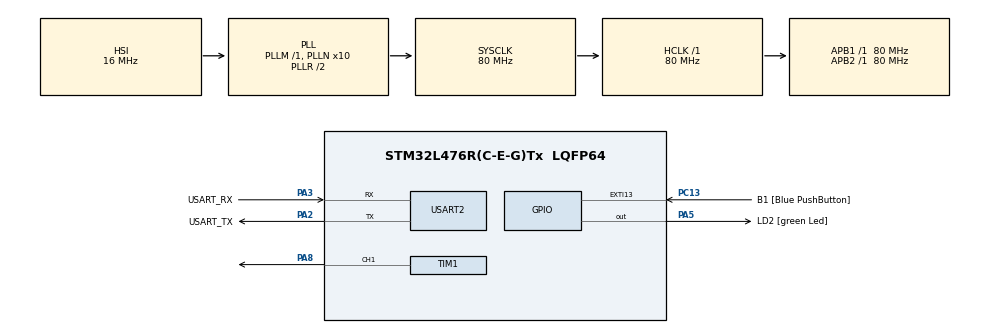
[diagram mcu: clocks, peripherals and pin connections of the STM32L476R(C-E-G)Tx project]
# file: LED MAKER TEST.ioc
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Dma.Request0=TIM1_CH1
Dma.TIM1_CH1.0.Direction=DMA_MEMORY_TO_PERIPH
Dma.TIM1_CH1.0.Instance=DMA1_Channel2
Dma.TIM1_CH1.0.MemDataAlignment=DMA_MDATAALIGN_HALFWORD
Dma.TIM1_CH1.0.MemInc=DMA_MINC_ENABLE
Dma.TIM1_CH1.0.Mode=DMA_NORMAL
Dma.TIM1_CH1.0.PeriphDataAlignment=DMA_PDATAALIGN_HALFWORD
Dma.TIM1_CH1.0.PeriphInc=DMA_PINC_DISABLE
Dma.TIM1_CH1.0.Priority=DMA_PRIORITY_VERY_HIGH
Mcu.Family=STM32L4
Mcu.Name=STM32L476R(C-E-G)Tx
Mcu.Package=LQFP64
NVIC.DMA1_Channel2_IRQn=true\:0\:0\:false\:false\:true\:false\:true\:true
NVIC.PriorityGroup=NVIC_PRIORITYGROUP_4
PA13\ (JTMS-SWDIO).GPIO_Label=TMS
PA13\ (JTMS-SWDIO).Mode=Serial_Wire
PA13\ (JTMS-SWDIO).Signal=SYS_JTMS-SWDIO
PA14\ (JTCK-SWCLK).GPIO_Label=TCK
PA14\ (JTCK-SWCLK).Mode=Serial_Wire
PA14\ (JTCK-SWCLK).Signal=SYS_JTCK-SWCLK
PA2.GPIO_Label=USART_TX
PA2.GPIO_Mode=GPIO_MODE_AF_PP
PA2.GPIO_PuPd=GPIO_NOPULL
PA2.GPIO_Speed=GPIO_SPEED_FREQ_VERY_HIGH
PA2.Mode=Asynchronous
PA2.Signal=USART2_TX
PA3.GPIO_Label=USART_RX
PA3.GPIO_Mode=GPIO_MODE_AF_PP
PA3.GPIO_PuPd=GPIO_NOPULL
PA3.GPIO_Speed=GPIO_SPEED_FREQ_VERY_HIGH
PA3.Mode=Asynchronous
PA3.Signal=USART2_RX
PA5.GPIO_Label=LD2 [green Led]
PA5.GPIO_ModeDefaultOutputPP=GPIO_MODE_OUTPUT_PP
PA5.GPIO_PuPd=GPIO_NOPULL
PA5.GPIO_Speed=GPIO_SPEED_FREQ_LOW
PA5.Signal=GPIO_Output
PA8.Signal=S_TIM1_CH1
PB3\ (JTDO-TRACESWO).GPIO_Label=SWO
PB3\ (JTDO-TRACESWO).Signal=SYS_JTDO-SWO
PC13.GPIO_Label=B1 [Blue PushButton]
PC13.GPIO_ModeDefaultEXTI=GPIO_MODE_IT_FALLING
PC13.GPIO_PuPd=GPIO_PULLDOWN
PC13.Signal=GPXTI13
PC14-OSC32_IN\ (PC14).Mode=LSE-External-Oscillator
PC14-OSC32_IN\ (PC14).Signal=RCC_OSC32_IN
PC15-OSC32_OUT\ (PC15).Mode=LSE-External-Oscillator
PC15-OSC32_OUT\ (PC15).Signal=RCC_OSC32_OUT
PH0-OSC_IN\ (PH0).Signal=RCC_OSC_IN
PH1-OSC_OUT\ (PH1).Signal=RCC_OSC_OUT
ProjectManager.HeapSize=0x200
ProjectManager.StackSize=0x400
ProjectManager.TargetToolchain=STM32CubeIDE
RCC.ADCFreq_Value=64000000
RCC.AHBFreq_Value=80000000
RCC.APB1Freq_Value=80000000
RCC.APB1TimFreq_Value=80000000
RCC.APB2Freq_Value=80000000
RCC.APB2TimFreq_Value=80000000
RCC.CortexFreq_Value=80000000
RCC.HCLKFreq_Value=80000000
RCC.HSE_VALUE=8000000
RCC.HSI_VALUE=16000000
RCC.MSI_VALUE=4000000
RCC.PLLN=10
RCC.PLLSAI1Q=RCC_PLLQ_DIV4
RCC.PLLSourceVirtual=RCC_PLLSOURCE_HSI
RCC.PREFETCH_ENABLE=1
RCC.SYSCLKFreq_VALUE=80000000
RCC.SYSCLKSource=RCC_SYSCLKSOURCE_PLLCLK
RCC.USBFreq_Value=32000000
RCC.VCOOutputFreq_Value=160000000
SH.S_TIM1_CH1.0=TIM1_CH1,PWM Generation1 CH1
TIM1.Channel-PWM\ Generation1\ CH1=TIM_CHANNEL_1
TIM1.Period=100-1
USART2.VirtualMode-Asynchronous=VM_ASYNC
VP_RNG_VS_RNG.Mode=RNG_Activate
VP_TIM1_VS_ClockSourceINT.Mode=Internal
board=NUCLEO-L476RG

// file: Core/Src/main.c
/* USER CODE BEGIN Header */
/**
  ******************************************************************************
  * @file           : main.c
  * @brief          : Main program body
  ******************************************************************************
  * @attention
  *
  * Copyright (c) 2025 STMicroelectronics.
  * All rights reserved.
  *
  * This software is licensed under terms that can be found in the LICENSE file
  * in the root directory of this software component.
  * If no LICENSE file comes with this software, it is provided AS-IS.
  *
  ******************************************************************************
  */
/* ticks 80MHz
 * T0H 400ns 32
 * T1H 800ns 64
 * T0L 850ns 68
 * T1L 450ns 36
 * RES 50000ns 4000
 *
 * Send 0 : 32 + 68 = 100
 * Send 1 : 64 + 36 = 100
 *
 * Green : 0x0000FF
 * Red :   0x00FF00
 * Blue :  0xFF0000
 */
/* USER CODE END Header */
#include "main.h"
#include "dma.h"
#include "rng.h"
#include "tim.h"
#include "usart.h"
#include "gpio.h"

/* USER CODE BEGIN Includes */
#include "brillez.h"
#include <stdio.h>
/* USER CODE END Includes */

/* USER CODE BEGIN PD */
/*#ifdef __GNUC__
#define PUTCHAR_PROTOTYPE int __io_putchar(int ch)
#else
#define PUTCHAR_PROTOTYPE int fputc(int ch, FILE *f)
#endif/*
/* USER CODE END PD */

void SystemClock_Config(void);

/* USER CODE BEGIN 0 */
/*
#ifdef __GNUC__
#define PUTCHAR_PROTOTYPE int __io_putchar(int ch)
#define GETCHAR_PROTOTYPE int __io_getchar(void)
#else
#define PUTCHAR_PROTOTYPE int fputc(int ch, FILE *f)
#define GETCHAR_PROTOTYPE int fgetc(FILE *f)
#endif

PUTCHAR_PROTOTYPE {
    HAL_UART_Transmit(&huart2, (uint8_t *)&ch, 1, HAL_MAX_DELAY);
    return ch;
}

GETCHAR_PROTOTYPE
{
	uint8_t ch = 0;

	/* Clear the Overrun flag just before receiving the first character */
	/*__HAL_UART_CLEAR_OREFLAG(&huart2);*/

	/* Wait for reception of a character on the USART RX line and echo this
	 * character on console */
	/*HAL_UART_Receive(&huart2, (uint8_t *)&ch, 1, HAL_MAX_DELAY);
	HAL_UART_Transmit(&huart2, (uint8_t *)&ch, 1, HAL_MAX_DELAY);
	return ch;
}*/

#define PALETTE_SIZE 6
uint32_t palette[PALETTE_SIZE] =
{
		0xFF0000,
		0xFFFF00,
		0x00FF00,
		0x00FFFF,
		0x0000FF,
		0xFF00FF,
};
/* USER CODE END 0 */

int main(void)
{

  /* MCU Configuration--------------------------------------------------------*/

  /* Reset of all peripherals, Initializes the Flash interface and the Systick. */
  HAL_Init();

  /* Configure the system clock */
  SystemClock_Config();

  /* Initialize all configured peripherals */
  MX_GPIO_Init();
  MX_DMA_Init();
  MX_USART2_UART_Init();
  MX_TIM1_Init();
  MX_RNG_Init();
  /* USER CODE BEGIN 2 */
  //printf("CC/n/r");

  //brillez_init();
  /* USER CODE END 2 */

  /* Infinite loop */
  /* USER CODE BEGIN WHILE */
  while (1)
  {
	 //HAL_UART_Transmit(&huart2, (uint8_t *)"Hello, STM32!", 14, HAL_MAX_DELAY);
	  /*int testo = HAL_GPIO_ReadPin(GPIOC, GPIO_PIN_13);
	  if(testo == 1){
		  printf("CC");
	  }*/

	  uint32_t random;
	  HAL_RNG_GenerateRandomNumber(&hrng, &random);
	  uint32_t effect = random %= 5;
	  HAL_RNG_GenerateRandomNumber(&hrng, &random);
	  uint32_t color = random %= PALETTE_SIZE;

	  for (int i = 0 ; i < 1 ; i++){
		  switch(effect){
	  			case 0:
	  				chaser_forward(palette[color], 25);
	  				break;
	  			case 1:
	  				chaser_backward(palette[color], 30);
	  				break;
	  			case 2:
	  				chaser_from_center(palette[color], 50);
	  				break;
	  			case 3:
	  				chaser_to_center(palette[color], 50);
	  				break;
	  			case 4:
	  				blink(palette[color], 50);
	  				break;
	  			}

    /* USER CODE END WHILE */

  }
}
}
void SystemClock_Config(void)
{
  RCC_OscInitTypeDef RCC_OscInitStruct = {0};
  RCC_ClkInitTypeDef RCC_ClkInitStruct = {0};

  /** Configure the main internal regulator output voltage
  */
  if (HAL_PWREx_ControlVoltageScaling(PWR_REGULATOR_VOLTAGE_SCALE1) != HAL_OK)
  {
    Error_Handler();
  }

  /** Initializes the RCC Oscillators according to the specified parameters
  * in the RCC_OscInitTypeDef structure.
  */
  RCC_OscInitStruct.OscillatorType = RCC_OSCILLATORTYPE_HSI;
  RCC_OscInitStruct.HSIState = RCC_HSI_ON;
  RCC_OscInitStruct.HSICalibrationValue = RCC_HSICALIBRATION_DEFAULT;
  RCC_OscInitStruct.PLL.PLLState = RCC_PLL_ON;
  RCC_OscInitStruct.PLL.PLLSource = RCC_PLLSOURCE_HSI;
  RCC_OscInitStruct.PLL.PLLM = 1;
  RCC_OscInitStruct.PLL.PLLN = 10;
  RCC_OscInitStruct.PLL.PLLP = RCC_PLLP_DIV7;
  RCC_OscInitStruct.PLL.PLLQ = RCC_PLLQ_DIV2;
  RCC_OscInitStruct.PLL.PLLR = RCC_PLLR_DIV2;
  if (HAL_RCC_OscConfig(&RCC_OscInitStruct) != HAL_OK)
  {
    Error_Handler();
  }

  /** Initializes the CPU, AHB and APB buses clocks
  */
  RCC_ClkInitStruct.ClockType = RCC_CLOCKTYPE_HCLK|RCC_CLOCKTYPE_SYSCLK
                              |RCC_CLOCKTYPE_PCLK1|RCC_CLOCKTYPE_PCLK2;
  RCC_ClkInitStruct.SYSCLKSource = RCC_SYSCLKSOURCE_PLLCLK;
  RCC_ClkInitStruct.AHBCLKDivider = RCC_SYSCLK_DIV1;
  RCC_ClkInitStruct.APB1CLKDivider = RCC_HCLK_DIV1;
  RCC_ClkInitStruct.APB2CLKDivider = RCC_HCLK_DIV1;

  if (HAL_RCC_ClockConfig(&RCC_ClkInitStruct, FLASH_LATENCY_4) != HAL_OK)
  {
    Error_Handler();
  }
}

void Error_Handler(void)
{
  __disable_irq();
  while (1)
  {
  }
}
